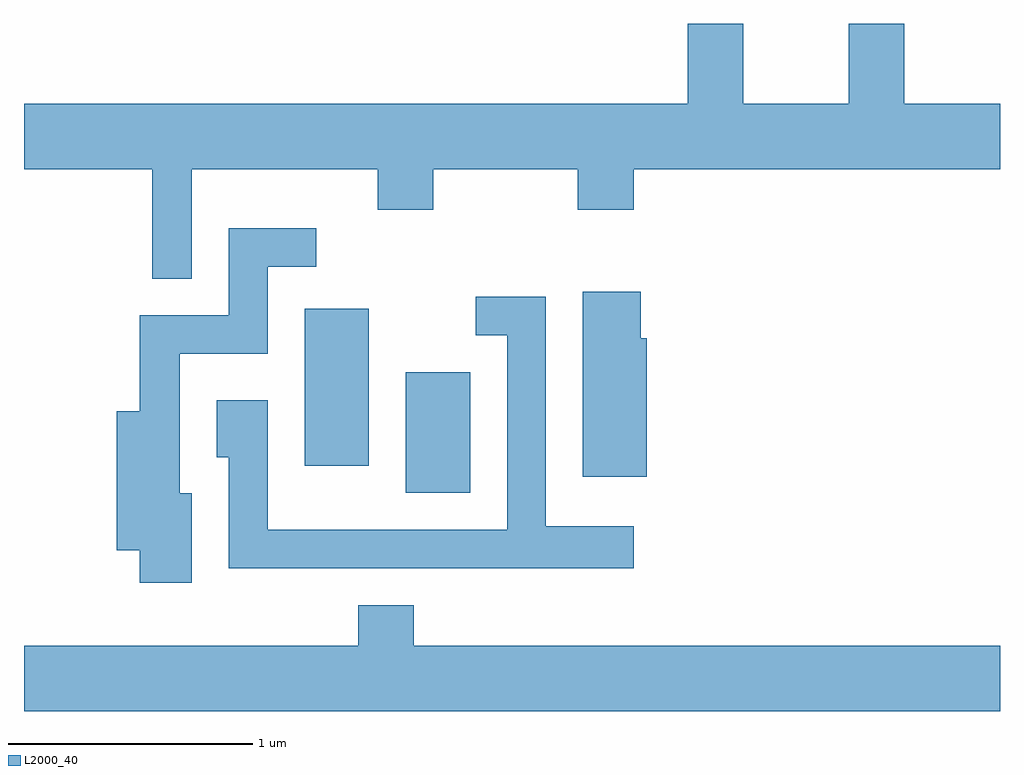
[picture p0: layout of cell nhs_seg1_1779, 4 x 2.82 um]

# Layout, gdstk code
import gdstk
lib = gdstk.Library(unit=1e-6, precision=1e-09)
def R(c, l, rs):  # rectangles x0, y0, x1, y1
    for r in rs: c.add(gdstk.rectangle(r[:2], r[2:], *l))
def P(c, l, *ps):  # polygons
    for p in ps: c.add(gdstk.Polygon(p, *l))
L2000_40 = (2000, 40)

nhs_seg1_1779 = lib.new_cell('nhs_seg1_1779')
R(nhs_seg1_1779, L2000_40, [(241.176,913.791,241.439,914.284), (240.761,913.901,241.024,914.544)])
P(nhs_seg1_1779, L2000_40, [(242.991,915.712),(242.991,915.384),(242.559,915.384),(242.559,915.712),(242.331,915.712),(242.331,915.384),(239.611,915.384),(239.611,915.116),(240.136,915.116),(240.136,914.668),(240.299,914.668),(240.299,915.116),(241.061,915.116),(241.061,914.951),(241.289,914.951),(241.289,915.116),(241.881,915.116),(241.881,914.951),(242.109,914.951),(242.109,915.116),(243.611,915.116),(243.611,915.384),(243.219,915.384),(243.219,915.712)],
  [(240.299,913.789),(240.249,913.789),(240.249,914.361),(240.609,914.361),(240.609,914.716),(240.808,914.716),(240.808,914.874),(240.451,914.874),(240.451,914.519),(240.086,914.519),(240.086,914.124),(239.991,914.124),(239.991,913.556),(240.086,913.556),(240.086,913.421),(240.299,913.421)],
  [(242.164,914.424),(242.139,914.424),(242.139,914.614),(241.901,914.614),(241.901,913.856),(242.164,913.856)],
  [(242.109,913.654),(241.749,913.654),(241.749,914.594),(241.463,914.594),(241.463,914.436),(241.591,914.436),(241.591,913.639),(240.609,913.639),(240.609,914.169),(240.401,914.169),(240.401,913.936),(240.451,913.936),(240.451,913.481),(242.109,913.481)],
  [(243.611,913.164),(241.209,913.164),(241.209,913.329),(240.981,913.329),(240.981,913.164),(239.611,913.164),(239.611,912.896),(243.611,912.896)])

lib.write_gds('nhs_seg1_1779.gds')
